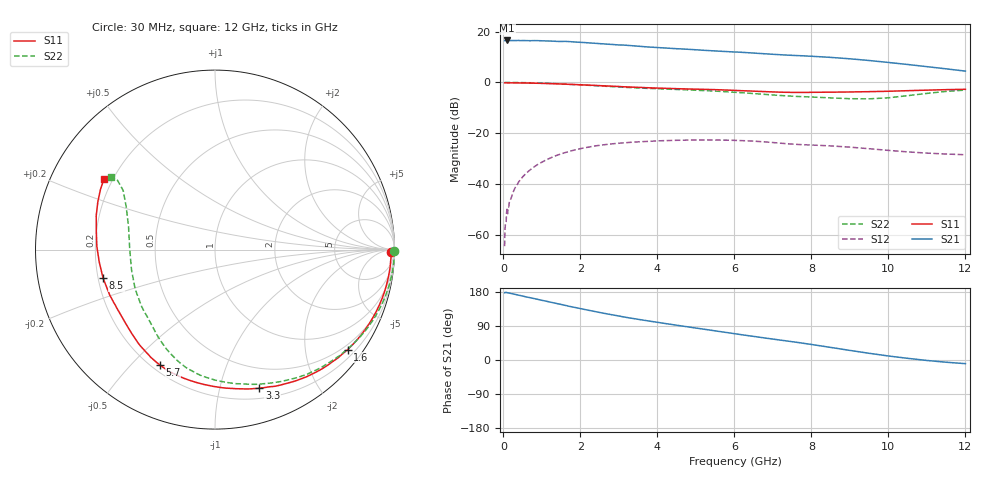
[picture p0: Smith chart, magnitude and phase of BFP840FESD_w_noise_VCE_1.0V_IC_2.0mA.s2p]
! Infineon Technologies  Discrete & RF Semiconductors
! BFP840FESD
! VCE =  1.0 V,  IC =  2.0 mA
! Common Emitter S-Parameters:  May 2012
# GHz  S  MA  R  50
!  f  S11  S21  S12  S22
! GHz  MAG  ANG  MAG  ANG  MAG  ANG  MAG  ANG
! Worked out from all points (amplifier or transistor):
!   103 points, 30 MHz to 12 GHz, reference 50 ohm
!   highest |S21| = 16.5 dB at 100 MHz (marker M1)
!   |S21| within 3 dB of that: start of sweep to 4.239 GHz
!   unconditionally stable (mu >= 1): 8.281 GHz to end of sweep
!   at 400 MHz: K = 0.01, MSG = 27.8 dB, |S12| = -39.0 dB
!   at 3.7 GHz: K = 0.22, MSG = 18.6 dB, |S12| = -23.2 dB
!   at 12 GHz: K = 1.60, MAG = 11.9 dB, |S12| = -28.5 dB
!   lowest NFmin = 0.53 dB at 450 MHz
!   S11 on the Smith chart (normalised r, x): 30 MHz: 75, -50; 1.6 GHz: 0.38, -2.95; 3.3 GHz: 0.29, -1.33; 5.7 GHz: 0.23, -0.61; 8.5 GHz: 0.22, -0.12; 12 GHz: 0.17, +0.28
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0.03  0.9818 -0.7  6.635 177.6  0.0006 82.5  0.9982 -0.6
0.04  0.9819 -0.9  6.625 177.5  0.0013 92.0  0.9986 -0.8
0.05  0.9817 -1.2  6.649 178.7  0.0016 93.9  1 -1.1
0.07  0.9821 -1.6  6.663 178.4  0.0018 80.1  0.9987 -1.5
0.09  0.9809 -2.1  6.692 177.8  0.0032 80.8  0.9991 -1.9
0.1  0.9813 -2.3  6.699 177.7  0.0027 87.9  0.9986 -2.2
0.25  0.9807 -5.8  6.677 174.4  0.0069 85.4  0.9977 -5.5
0.5  0.9757 -11.6  6.68 168.7  0.0139 80.5  0.9913 -11.1
0.9  0.9626 -20.9  6.641 159.8  0.0246 73.2  0.9741 -20.0
1.6  0.9257 -37.0  6.428 144.3  0.0416 59.4  0.9271 -35.8
2.1  0.8929 -48.0  6.095 133.5  0.0516 49.9  0.8867 -47.1
2.6  0.8585 -58.4  5.739 123.4  0.0592 41.1  0.846 -57.6
3.3  0.8109 -72.2  5.309 110.6  0.0663 30.6  0.7917 -71.0
4.1  0.7707 -87.0  4.809 97.9  0.0712 20.7  0.7461 -84.0
4.9  0.7404 -101.9  4.442 85.8  0.0735 11.7  0.7079 -95.8
5.7  0.7123 -115.6  4.085 73.9  0.0733 3.1  0.6617 -106.9
6.1  0.692 -122.6  3.95 68.0  0.0721 -1.0  0.6335 -112.5
7.2  0.6435 -141.7  3.507 52.4  0.0637 -9.9  0.553 -128.9
8.5  0.6435 -165.6  3.112 33.2  0.0564 -12.8  0.4962 -153.7
9.5  0.6584 178.5  2.702 17.7  0.0496 -14.8  0.4754 179.3
10.5  0.6884 164.0  2.255 4.4  0.043 -11.3  0.5495 154.2
12  0.7325 147.7  1.67 -9.6  0.0378 1.2  0.7065 145.1
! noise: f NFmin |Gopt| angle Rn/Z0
0.45  0.53  0.68  7  0.31
0.9  0.58  0.66  13  0.29
1.5  0.65  0.62  21  0.26
1.9  0.68  0.58  29  0.26
2.4  0.72  0.56  36  0.26
3.5  0.75  0.53  55  0.24
5.5  0.89  0.4  89  0.18
8  1.18  0.35  149  0.13
10  1.43  0.38  -169  0.11
12  1.63  0.52  -136  0.14
